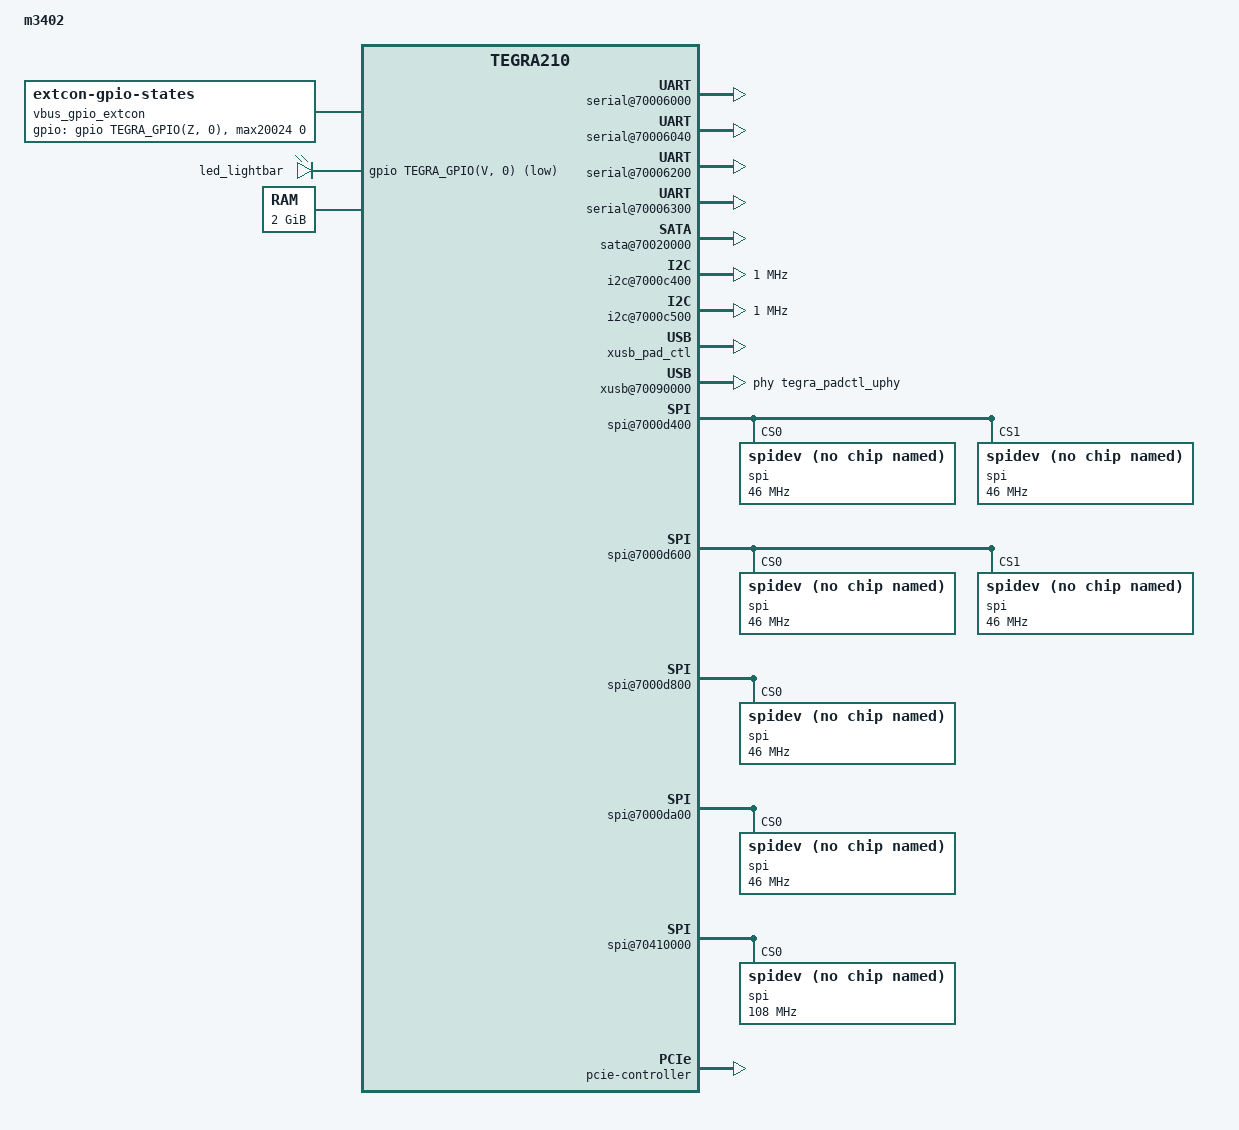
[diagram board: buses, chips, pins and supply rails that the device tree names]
/*
 * T210-
 *
 * arch/arm64/boot/dts/tegra210-m3402-common.dtsi
 *
 * Copyright (c) 2016-2017, NVIDIA CORPORATION.  All rights reserved.
 *
 * This program is free software; you can redistribute it and/or modify
 * it under the terms of the GNU General Public License as published by
 * the Free Software Foundation; version 2 of the License.
 *
 * This program is distributed in the hope that it will be useful, but WITHOUT
 * ANY WARRANTY; without even the implied warranty of MERCHANTABILITY or
 * FITNESS FOR A PARTICULAR PURPOSE.  See the GNU General Public License for
 * more details.
 *
 */

#include <tegra210-soc/tegra210-soc-shield.dtsi>
#include <dt-bindings/interrupt-controller/arm-gic.h>
#include <dt-bindings/gpio/tegra-gpio.h>
#include <dt-bindings/clock/tegra210-car.h>
#include <dt-bindings/reset/tegra210-car.h>
#include <dt-bindings/soc/tegra-pmc.h>
#include <tegra210-soc/tegra210-prods.dtsi>

#include <tegra210-soc/tegra210-edp.dtsi>
#include <t210-common-platforms/tegra210-sysedp.dtsi>
#include <tegra210-soc/tegra210-audio.dtsi>
#include <t210-common-platforms/tegra210-platform-common-padvoltage-default.dtsi>

#include "orca-platforms/tegra210-power-tree-m3402-a00.dtsi"
#include "orca-platforms/tegra210-power-dvfs-m3402-a00.dtsi"
#include "orca-platforms/tegra210-emc-m3402-a00.dtsi"
#include "orca-platforms/tegra210-m3402-a00-pinmux.dtsi"
#include "orca-platforms/tegra210-m3402-a00-gpio-default.dtsi"
#include <t210-common-platforms/tegra210-dp.dtsi>
#include <t210-common-platforms/tegra210-cpufreq.dtsi>

#include <panels/panel-a-edp-1080p-14-0.dtsi>

#include <dt-bindings/soc/tegra-pmc.h>
#include <dt-bindings/sound/tegra-asoc-alt.h>
#include <dt-bindings/display/tegra-dc.h>
#include <dt-bindings/display/tegra-panel.h>

#include <dt-bindings/input/input.h>

#define EXTCON_NONE		0
#define EXTCON_USB		1
#define EXTCON_USB_Host		2

/ {
	model = "m3402";
	compatible = "nvidia,m3402", "nvidia,tegra210";
	nvidia,dtsfilename = __FILE__;
	/*nvidia,boardids = "2382:0000:000";*/

	/* Place holder for Boardinfo,this will be updated by QB
	* by reading the values from BCT partition
	*/
	nvidia,boardinfo {
		macids {
			mac0-interface = "0000";
			mac0-address = <00 00 00 00 00 00>;
			mac0-address-string = "00 00 00 00 00 00";
		};
		skuinfo {
			skustring = "000-00000-0000-000";
			skuver = "00";
		};
		prodinfo {
			prodstring = "000-00000-0000-000";
			prodver = "0";
		};
		serialnuminfo {
			serialnumstring = "0000000";
			version = "0";
		};
	};

	cpuidle {
		cc4-no-retention;
	};

        cpus {
                cpu@0 {
                        clocks = <&tegra_car TEGRA210_CLK_CCLK_G>,
                                 <&tegra_car TEGRA210_CLK_CCLK_LP>,
                                 <&tegra_car TEGRA210_CLK_PLL_X>,
                                 <&tegra_car TEGRA210_CLK_PLL_P_OUT4>,
                                 <&tegra_clk_dfll>;
                        clock-names = "cpu_g", "cpu_lp", "pll_x", "pll_p", "dfll";
                        clock-latency = <300000>;
                };
        };

	chosen {
		bootargs = "earlycon=uart8250,mmio32,0x70006040";
		stdout-path = &uartb;
		nvidia,tegra-joint_xpu_rail;
		nvidia,tegra-always-on-personality;
	};

	pmc@7000e400 {
		nvidia,invert-interrupt;
		bootrom-commands {
			reset-commands {
				nvidia,command-retries-count = <2>;
				nvidia,delay-between-commands-us = <10>;
				nvidia,wait-start-bus-clear-us = <10>;
				#address-cells = <1>;
				#size-cells = <0>;
				commands@4-003c {
					nvidia,command-names = "pmic-rails";
					reg = <0x3c>;
					nvidia,enable-8bit-register;
					nvidia,enable-8bit-data;
					nvidia,controller-type-i2c;
					nvidia,controller-id = <4>;
					nvidia,enable-controller-reset;
					nvidia,write-commands = <0x00000016 0x00000020>;
				};
			};
			power-off-commands {
				nvidia,command-retries-count = <2>;
				nvidia,delay-between-commands-us = <10>;
				nvidia,wait-start-bus-clear-us = <10>;
				#address-cells = <1>;
				#size-cells = <0>;
				commands@4-003c {
					nvidia,command-names = "pmic-rails";
					reg = <0x3c>;
					nvidia,enable-8bit-register;
					nvidia,enable-8bit-data;
					nvidia,controller-type-i2c;
					nvidia,controller-id = <4>;
					nvidia,enable-controller-reset;
					nvidia,write-commands = <0x3B 0x01
								0x42 0x5B
								0x41 0xF8>;
				};
			};
		};
	};

	mipical {
		status = "disabled";
	};

	serial@70006000 {
		status = "okay";
		compatible = "nvidia,tegra210-uart";
	};

	serial@70006040 {
		compatible = "nvidia,tegra210-uart", "nvidia,tegra114-hsuart";
		console-port;
		sqa-automation-port;
		/delete-property/ resets;
		/delete-property/ reset-names;
		status = "okay";
	};

	serial@70006200 {
		status = "okay";
	};

	serial@70006300 {
		status = "okay";
		compatible = "nvidia,tegra210-uart";
	};

	rtc {
		nvidia,pmc-wakeup = <&tegra_pmc PMC_WAKE_TYPE_EVENT 16
				     PMC_TRIGGER_TYPE_HIGH>;
	};

	pmc@7000e400 {
		nvidia,suspend-mode = <0>;
		nvidia,cpu-pwr-good-time = <0>;
		nvidia,cpu-pwr-off-time = <0>;
		nvidia,core-pwr-good-time = <4587 3876>;
		nvidia,core-pwr-off-time = <39065>;
		nvidia,core-pwr-req-active-high;
		nvidia,sys-clock-req-active-high;
		#nvidia,wake-cells = <3>;
	};

	gpu-dvfs-rework {
		status = "disabled";
	};

	sata@70020000 {
		status = "okay";
		nvidia,enable-sata-port;
	};

	i2c@7000c700 {
		status = "disabled";
	};

	i2c@7000d100 {
		status = "disabled";
	};

	i2c@7000c400 {
		status = "okay";
		clock-frequency = <1000000>;
	};

	i2c@7000c500 {
		status = "okay";
		clock-frequency = <1000000>;
	};

	extcon {
		compatible = "simple-bus";
		device_type = "external-connection";
		#address-cells = <1>;
		#size-cells = <0>;

		extcon@0 {
			gpio = <&max20024 0 0>;
			status = "disabled";
		};

		vbus_gpio_extcon: extcon@1 {
			  compatible = "extcon-gpio-states";
			  reg = <0x1>;
			  extcon-gpio,name = "VBUS";
			  extcon-gpio,cable-states = <0x3 0x0
						      0x0 0x1
						      0x1 0x2
						      0x2 0x1>;
			  gpios = <&gpio TEGRA_GPIO(Z, 0) 0 &max20024 0 0>;
			  extcon-gpio,out-cable-name-strings = "USB", "USB-Host";
			  extcon-gpio,out-cable-names = <EXTCON_USB EXTCON_USB_Host EXTCON_NONE>;
			  #extcon-cells = <1>;
			  extcon-gpio,debounce = <0x900000>;
		  };
	};

	xusb_pad_ctl: xusb_padctl {
		nvidia,ss_ports = <TEGRA_XHCI_SS_P0 TEGRA_XHCI_USB2_P0 TEGRA_XHCI_LANE_6 TEGRA_XHCI_PORT_STD
				TEGRA_XHCI_SS_P1 TEGRA_XHCI_UNUSED_PORT TEGRA_XHCI_UNUSED_LANE TEGRA_XHCI_PORT_STD
				TEGRA_XHCI_SS_P2 TEGRA_XHCI_UNUSED_PORT TEGRA_XHCI_UNUSED_LANE TEGRA_XHCI_PORT_STD
				TEGRA_XHCI_SS_P3 TEGRA_XHCI_UNUSED_PORT TEGRA_XHCI_UNUSED_LANE TEGRA_XHCI_PORT_STD>;
		status = "okay";
	};

	xusb@70090000 {

		/*
		 *portmap - bit-field indicating which non-OTG ports are
		 *		controlled by XHCI (SSP3 and USB2P2)
		 *bit[0-3]  : SS ports 0 to 3
		 *bit[8-11] : HS ports 0 to 3
		 */
		nvidia,gpio_ss1_sata = <0>;
		nvidia,ulpicap = <0>; /* No ulpi support. can we remove */
		nvidia,portmap = <0x0E01>;
		nvidia,common_padctl = <&xusb_pad_ctl>;
		nvidia,pmc-wakeup =
			<&tegra_pmc
				PMC_WAKE_TYPE_EVENT 41 PMC_TRIGGER_TYPE_HIGH>,
			<&tegra_pmc
				PMC_WAKE_TYPE_EVENT 44 PMC_TRIGGER_TYPE_HIGH>;
		extcon-cables = <&vbus_gpio_extcon 1>;
		extcon-cable-names = "id";
		#extcon-cells = <1>;
		phys =  <&tegra_padctl_uphy TEGRA_PADCTL_UPHY_UTMI_P(2)>,
			<&tegra_padctl_uphy TEGRA_PADCTL_UPHY_USB3_P(1)>,
			<&tegra_padctl_uphy TEGRA_PADCTL_UPHY_UTMI_P(1)>,
			<&tegra_padctl_uphy TEGRA_PADCTL_UPHY_USB3_P(0)>,
			<&tegra_padctl_uphy TEGRA_PADCTL_UPHY_UTMI_P(0)>;
		phy-names = "utmi-2", "usb3-1", "utmi-1", "usb3-0", "utmi-0";
		status = "okay";
	};

	xudc@700d0000 {

		/*
		 *portmap - bit-field indicating which non-OTG ports are
		 *		controlled by XUDC (None)
		 *bit[0-3]  : SS ports 0 to 3
		 *bit[8-11] : HS ports 0 to 3
		 */
		extcon-cables = <&vbus_gpio_extcon 0 &vbus_gpio_extcon 1>;
		extcon-cable-names = "vbus", "id";
		nvidia,common_padctl = <&xusb_pad_ctl>;
		nvidia,portmap = <0x0100>;
		#extcon-cells = <1>;
		status = "disabled";
		extcon-cables = <&vbus_gpio_extcon 0 &vbus_gpio_extcon 1>;
		extcon-cable-names = "vbus", "id";
	};

	spi@7000d400 {
		status = "okay";
		spi@0 {
			compatible = "spidev";
			reg = <0>;
			spi-max-frequency = <46000000>;
		};
		spi@1 {
			compatible = "spidev";
			reg = <1>;
			spi-max-frequency = <46000000>;
		};
	};

	spi@7000d600 {
		status = "okay";
		spi@0 {
			compatible = "spidev";
			reg = <0>;
			spi-max-frequency = <46000000>;
		};
		spi@1 {
			compatible = "spidev";
			reg = <1>;
			spi-max-frequency = <46000000>;
		};
	};

	spi@7000d800 {
		status = "okay";
		spi@0 {
			compatible = "spidev";
			reg = <0>;
			spi-max-frequency = <46000000>;
		};
	};

	spi@7000da00 {
		status = "okay";
		spi@0 {
			compatible = "spidev";
			reg = <0>;
			spi-max-frequency = <46000000>;
		};
	};

	spi@70410000 {
		status = "okay";
		nvidia,x4-is-ddr=<0>;

		spi@0 { /* Qspi FRAM */
			compatible = "spidev";
			reg = <0>;
			spi-max-frequency = <108000000>;

			controller-data {
				nvidia,x1-bus-speed = <108000000>; /* In Hz */
				nvidia,x1-dymmy-cycle = <0>;
				nvidia,x4-bus-speed = <108000000>;
				nvidia,x4-dymmy-cycle = <0>;
				nvidia,ifddr-div2-sdr = <0>;
				nvidia,x4-is-ddr=<0>;
				nvidia,rx-clk-tap-delay = <0x0c>;
				nvidia,tx-clk-tap-delay = <0x24>;
			};
		};
	};

	pcie-controller {
		status = "okay";
		pci@1,0 {
			status = "okay";
			nvidia,num-lanes = <4>;
		};

		pci@2,0 {
			nvidia,num-lanes = <1>;
			status = "disabled";
		};
	};

	watchdog@60005100 {
		status = "disabled";
	};

	pwm-leds {
		compatible = "pwm-leds";
		lightbar {
			label = "led_lightbar";
			pwms = <&tegra_pwm 0 10000000>;
			gpios = <&gpio TEGRA_GPIO(V, 0) GPIO_ACTIVE_LOW>;
			max-brightness = <255>;
			default-brightness = <255>;
			linux,default-trigger = "default-on";
		};
	};

	cpus {
		cpu@0 {
			cpu-capacity = <1024>;
		};
		cpu@1 {
			cpu-capacity = <1024>;
		};
		cpu@2 {
			cpu-capacity = <1024>;
		};
		cpu@3 {
			cpu-capacity = <1024>;
		};
	};

	thermal-zones {
		CPU-therm {
			thermal-zone-params {
				governor-name = "pid_thermal_gov";
				max_err_temp = <9000>;
				max_err_gain = <1000>;
				gain_p = <1000>;
				gain_d = <0>;
				up_compensation = <20>;
				down_compensation = <20>;
			};

			trips {
				cpu_critical {
					temperature = <105000>;
					hysteresis = <0>;
					type = "critical";
					writable;
				};

				cpu_throttle {
					temperature = <91000>;
					hysteresis = <1000>;
					type = "passive";
					writable;
				};

				cpu_vmin1: cpu-vmin1 {
					temperature = <20000>;
					hysteresis = <1000>;
					type = "active";
					writable;
				};

				cpu_vmax1: cpu-vmax1 {
					temperature = <90000>;
					hysteresis = <1000>;
					type = "active";
					writable;
				};
			};
			cooling-maps {

				map0 {
					trip = <
			&{/thermal-zones/CPU-therm/trips/cpu_critical}>;
					cdev-type = "tegra-shutdown";
					cooling-device = <
			&{/soctherm@0x700E2000/throttle@critical}
					THERMAL_NO_LIMIT THERMAL_NO_LIMIT>;
				};
				map1 {
					trip = <
			&{/thermal-zones/CPU-therm/trips/cpu_throttle}>;
					cdev-type = "cpu-balanced";
					cooling-device = <
			&{/bthrot_cdev/cpu_balanced}
					THERMAL_NO_LIMIT THERMAL_NO_LIMIT>;
				};
				vdd-cpu-map1 {
					trip = <&cpu_vmin1>;
					cooling-device = <&cpu_vmin_cdev 1 1>;
				};
				vdd-cpu-map2 {
					trip = <&cpu_vmax1>;
					cooling-device = <&cpu_vmax_cdev 1 1>;
				};
			};
		};

		GPU-therm {

			thermal-zone-params {
				governor-name = "pid_thermal_gov";
				max_err_temp = <9000>;
				max_err_gain = <1000>;
				gain_p = <1000>;
				gain_d = <0>;
				up_compensation = <20>;
				down_compensation = <20>;
			};

			trips {
				gpu_critical {
					temperature = <105000>;
					hysteresis = <0>;
					type = "critical";
					writable;
				};

				gpu_throttle {
					temperature = <91000>;
					hysteresis = <1000>;
					type = "passive";
					writable;
				};

				gpu_scaling0: gpu-scaling0 {
					temperature = <(-25000)>;
					hysteresis = <1000>;
					type = "active";
					writable;
				};

				gpu_scaling1: gpu-scaling1 {
					temperature = <15000>;
					hysteresis = <1000>;
					type = "active";
					writable;
				};

				gpu_scaling2: gpu-scaling2 {
					temperature = <30000>;
					hysteresis = <1000>;
					type = "active";
					writable;
				};

				gpu_scaling3: gpu-scaling3 {
					temperature = <50000>;
					hysteresis = <1000>;
					type = "active";
					writable;
				};

				gpu_scaling4: gpu-scaling4{
					temperature = <70000>;
					hysteresis = <1000>;
					type = "active";
					writable;
				};
			};

			cooling-maps {
				map0 {
					trip = <
			&{/thermal-zones/GPU-therm/trips/gpu_critical}>;
					cdev-type = "tegra-shutdown";
					cooling-device = <
			&{/soctherm@0x700E2000/throttle@critical}
					THERMAL_NO_LIMIT THERMAL_NO_LIMIT>;
				};
				map1 {
					trip = <
			&{/thermal-zones/GPU-therm/trips/gpu_throttle}>;
					cdev-type = "gpu-balanced";
					cooling-device = <
			&{/bthrot_cdev/gpu_balanced}
					THERMAL_NO_LIMIT THERMAL_NO_LIMIT>;
				};
				vdd-gpu-map1 {
					trip = <&gpu_scaling1>;
					cooling-device = <
						&gpu_scaling_cdev 1 1>;
				};
				vdd-gpu-map2 {
					trip = <&gpu_scaling2>;
					cooling-device = <
						&gpu_scaling_cdev 2 2>;
				};
				vdd-gpu-map3 {
					trip = <&gpu_scaling3>;
					cooling-device = <
						&gpu_scaling_cdev 3 3>;
				};
				vdd-gpu-map4 {
					trip = <&gpu_scaling4>;
					cooling-device = <
						&gpu_scaling_cdev 4 4>;
				};
			};
		};

		PLL-therm {
			thermal-zone-params {
				governor-name = "pid_thermal_gov";
				max_err_temp = <9000>;
				max_err_gain = <1000>;
				gain_p = <1000>;
				gain_d = <0>;
				up_compensation = <20>;
				down_compensation = <20>;
			};
			trips {
				pll_critical {
					temperature = <105000>;
					hysteresis = <0>;
					type = "critical";
					writable;
				};
			};
			cooling-maps {
				map0 {
					trip = <
			&{/thermal-zones/PLL-therm/trips/pll_critical}>;
					cdev-type = "tegra-shutdown";
					cooling-device = <
			&{/soctherm@0x700E2000/throttle@critical}
					THERMAL_NO_LIMIT THERMAL_NO_LIMIT>;
				};
			};
		};

	};

	memory@80000000 {
		device_type = "memory";
		reg = < 0x0 0x80000000 0x0 0x80000000 >;
	};

	adma@702e2000  {
		interrupts = <0 24 0x04
			0 25 0x04
			0 26 0x04
			0 27 0x04
			0 28 0x04
			0 29 0x04
			0 30 0x04
			0 31 0x04
			0 32 0x04
			0 33 0x04>;
		dma-channels = <10>;
		status = "okay";
	};

	host1x {
		sor1 {
			hdmi-display {
				status = "disabled";
			};
		};
		vi {
			avdd_dsi_csi-supply = <&max20024_sd2>;
		};
		i2c@546c0000 {
			avdd_dsi_csi-supply = <&max20024_sd2>;
		};
	};

	mailbox@70098000 {
		status = "okay";
	};

	pinctrl@7009f000 {
		status = "okay";
		pinctrl-0 = <&tegra_padctl_uphy_pinmux_default>;
		pinctrl-names = "default";
		tegra_padctl_uphy_pinmux_default: pinmux {
			usb2-micro-AB-xusb {
				nvidia,lanes = "otg-0";
				nvidia,function = "xusb";
				nvidia,port-cap =
					<TEGRA_PADCTL_PORT_OTG_CAP>;
			};
			usb3-for-dev-mode {
				nvidia,lanes = "uphy-lane-0";
				nvidia,function = "usb3";
				nvidia,usb3-port = <2>;
				nvidia,usb2-map = <0>;
				nvidia,port-cap =
					<TEGRA_PADCTL_PORT_OTG_CAP>;
			};
			usb2-micro-AB-snps {
				nvidia,lanes = "otg-0";
				nvidia,function = "snps";
				status = "disabled";
			};
			usb2-std-A-port0 {
				nvidia,lanes = "otg-2";
				nvidia,function = "xusb";
				nvidia,port-cap =
					<TEGRA_PADCTL_PORT_HOST_ONLY>;
			};
			usb3-std-A-port0 {
				nvidia,lanes = "uphy-lane-5";
				nvidia,function = "usb3";
				nvidia,usb3-port = <1>;
				nvidia,usb2-map = <2>;
				nvidia,port-cap =
					<TEGRA_PADCTL_PORT_HOST_ONLY>;
			};
			usb2-eth {
				nvidia,lanes = "otg-1";
				nvidia,function = "xusb";
				nvidia,port-cap =
					<TEGRA_PADCTL_PORT_HOST_ONLY>;
			};
			usb3-eth {
				nvidia,lanes = "uphy-lane-6";
				nvidia,function = "usb3";
				nvidia,usb3-port = <0>;
				nvidia,usb2-map = <1>;
				nvidia,port-cap =
					<TEGRA_PADCTL_PORT_HOST_ONLY>;
			};
			hsic {
				nvidia,lanes = "hsic-0";
				nvidia,function = "hsic";
			};
			pcie {
				nvidia,lanes = "uphy-lane-1", "uphy-lane-2",
					"uphy-lane-3", "uphy-lane-4";
				nvidia,function = "pcie";
				nvidia,pcie-controller = <0>;
				nvidia,pcie-lane-select =
					<TEGRA_PADCTL_PCIE_LANE_X4>;
			};
			sata {
				nvidia,lanes = "uphy-lane-7";
				nvidia,function = "sata";
			};
		};
	};
};
